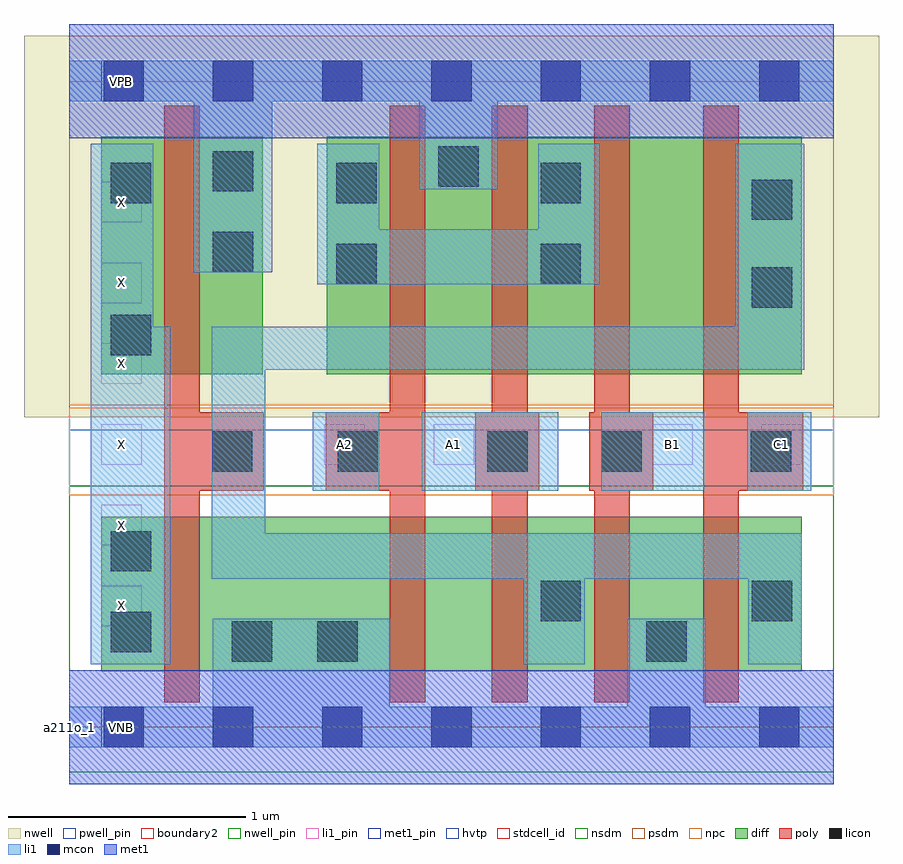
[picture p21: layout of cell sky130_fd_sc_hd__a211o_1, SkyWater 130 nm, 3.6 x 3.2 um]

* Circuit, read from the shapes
.subckt sky130_fd_sc_hd__a211o_1 A1 A2 B1 C1 VGND VNB VPB VPWR X
XM1 VGND n1 X VNB sky130_fd_pr__nfet_01v8 w=0.65 l=0.15
XM2 n2 A2 VGND VNB sky130_fd_pr__nfet_01v8 w=0.65 l=0.15
XM3 n1 A1 n2 VNB sky130_fd_pr__nfet_01v8 w=0.65 l=0.15
XM4 VGND B1 n1 VNB sky130_fd_pr__nfet_01v8 w=0.65 l=0.15
XM5 n1 C1 VGND VNB sky130_fd_pr__nfet_01v8 w=0.65 l=0.15
XM6 VPWR n1 X VPB sky130_fd_pr__pfet_01v8_hvt w=1 l=0.15
XM7 VPWR A2 n3 VPB sky130_fd_pr__pfet_01v8_hvt w=1 l=0.15
XM8 n3 A1 VPWR VPB sky130_fd_pr__pfet_01v8_hvt w=1 l=0.15
XM9 n4 B1 n3 VPB sky130_fd_pr__pfet_01v8_hvt w=1 l=0.15
XM10 n1 C1 n4 VPB sky130_fd_pr__pfet_01v8_hvt w=1 l=0.15
.ends

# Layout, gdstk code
import gdstk
lib = gdstk.Library(unit=1e-6, precision=1e-09)
def R(c, l, rs):  # rectangles x0, y0, x1, y1
    for r in rs: c.add(gdstk.rectangle(r[:2], r[2:], *l))
def A(c, l, x, y, w, h, nx, ny, dx, dy):  # array of equal rectangles
    R(c, l, [(x+i*dx, y+j*dy, x+i*dx+w, y+j*dy+h) for i in range(nx) for j in range(ny)])
def P(c, l, *ps):  # polygons
    for p in ps: c.add(gdstk.Polygon(p, *l))
nwell_pin = (64, 16)
nwell = (64, 20)
diff = (65, 20)
poly = (66, 20)
licon = (66, 44)
li1_pin = (67, 16)
li1 = (67, 20)
mcon = (67, 44)
met1_pin = (68, 16)
met1 = (68, 20)
hvtp = (78, 44)
stdcell_id = (81, 4)
nsdm = (93, 44)
psdm = (94, 20)
npc = (95, 20)
pwell_pin = (122, 16)
boundary2 = (236, 0)

sky130_fd_sc_hd__a211o_1 = lib.new_cell('sky130_fd_sc_hd__a211o_1')
R(sky130_fd_sc_hd__a211o_1, nwell_pin, [(0.135,2.635,0.305,2.805)])
R(sky130_fd_sc_hd__a211o_1, nwell, [(-0.19,1.305,3.41,2.91)])
R(sky130_fd_sc_hd__a211o_1, diff, [(0.135,0.235,3.085,0.885), (0.135,1.485,0.815,2.485), (1.085,1.485,3.085,2.485)])
P(sky130_fd_sc_hd__a211o_1, poly, [(2.46,1.325),(2.36,1.325),(2.36,2.615),(2.21,2.615),(2.21,1.325),(2.19,1.325),(2.19,0.995),(2.21,0.995),(2.21,0.105),(2.36,0.105),(2.36,0.995),(2.46,0.995)],
  [(3.09,1.325),(2.82,1.325),(2.82,2.615),(2.67,2.615),(2.67,0.105),(2.82,0.105),(2.82,0.995),(3.09,0.995)],
  [(1.98,1.325),(1.93,1.325),(1.93,2.615),(1.78,2.615),(1.78,1.325),(1.71,1.325),(1.71,0.995),(1.78,0.995),(1.78,0.105),(1.93,0.105),(1.93,0.995),(1.98,0.995)],
  [(1.5,2.615),(1.35,2.615),(1.35,1.325),(1.08,1.325),(1.08,0.995),(1.35,0.995),(1.35,0.105),(1.5,0.105)],
  [(0.82,1.325),(0.55,1.325),(0.55,2.615),(0.4,2.615),(0.4,0.105),(0.55,0.105),(0.55,0.995),(0.82,0.995)])
R(sky130_fd_sc_hd__a211o_1, licon, [(0.685,0.275,0.855,0.445), (1.045,0.275,1.215,0.445), (2.43,0.275,2.6,0.445), (0.175,0.315,0.345,0.485), (1.985,0.445,2.155,0.615), (2.875,0.445,3.045,0.615), (0.175,0.655,0.345,0.825), (0.6,1.075,0.77,1.245), (1.13,1.075,1.3,1.245), (1.76,1.075,1.93,1.245), (2.24,1.075,2.41,1.245), (2.87,1.075,3.04,1.245), (0.175,1.565,0.345,1.735), (2.875,1.765,3.045,1.935), (1.125,1.865,1.295,2.035), (1.985,1.865,2.155,2.035), (0.605,1.915,0.775,2.085), (2.875,2.135,3.045,2.305), (0.175,2.205,0.345,2.375), (1.125,2.205,1.295,2.375), (1.985,2.205,2.155,2.375), (0.605,2.255,0.775,2.425), (1.555,2.275,1.725,2.445)])
A(sky130_fd_sc_hd__a211o_1, li1_pin, 0.135, 0.425, 0.17, 0.17, 1, 6, 0, 0.34)
R(sky130_fd_sc_hd__a211o_1, li1_pin, [(1.075,1.105,1.245,1.275), (1.535,1.105,1.705,1.275), (2.455,1.105,2.625,1.275), (2.915,1.105,3.085,1.275)])
R(sky130_fd_sc_hd__a211o_1, li1, [(1.025,0.995,1.305,1.325), (1.485,0.995,2.06,1.325), (2.24,0.995,2.675,1.325), (2.855,0.995,3.125,1.325)])
P(sky130_fd_sc_hd__a211o_1, li1, [(3.085,0.815),(0.825,0.815),(0.825,1.505),(3.095,1.505),(3.095,2.455),(2.805,2.455),(2.805,1.685),(0.6,1.685),(0.6,0.625),(1.915,0.625),(1.915,0.265),(2.17,0.265),(2.17,0.625),(2.86,0.625),(2.86,0.265),(3.085,0.265)],
  [(2.235,2.455),(1.975,2.455),(1.975,2.095),(1.305,2.095),(1.305,2.455),(1.045,2.455),(1.045,1.865),(2.235,1.865)],
  [(0.09,0.265),(0.09,2.455),(0.355,2.455),(0.355,1.685),(0.425,1.685),(0.425,0.265)],
  [(3.22,0.085),(2.68,0.085),(2.68,0.455),(2.35,0.455),(2.35,0.085),(1.35,0.085),(1.35,0.455),(0.605,0.455),(0.605,0.085),(0,0.085),(0,-0.085),(3.22,-0.085)],
  [(3.22,2.805),(0,2.805),(0,2.635),(0.525,2.635),(0.525,1.915),(0.855,1.915),(0.855,2.635),(1.475,2.635),(1.475,2.265),(1.805,2.265),(1.805,2.635),(3.22,2.635)])
A(sky130_fd_sc_hd__a211o_1, mcon, 0.145, -0.085, 0.17, 0.17, 7, 2, 0.46, 2.72)
R(sky130_fd_sc_hd__a211o_1, met1_pin, [(0.135,-0.085,0.305,0.085), (0.135,2.635,0.305,2.805)])
R(sky130_fd_sc_hd__a211o_1, hvtp, [(0,1.25,3.22,2.72)])
R(sky130_fd_sc_hd__a211o_1, stdcell_id, [(0,0,3.22,2.72)])
R(sky130_fd_sc_hd__a211o_1, nsdm, [(0,-0.19,3.22,1.015)])
R(sky130_fd_sc_hd__a211o_1, psdm, [(0,1.355,3.22,2.91)])
R(sky130_fd_sc_hd__a211o_1, npc, [(0,0.975,3.22,1.345)])
R(sky130_fd_sc_hd__a211o_1, pwell_pin, [(0.135,-0.085,0.305,0.085)])
R(sky130_fd_sc_hd__a211o_1, boundary2, [(0,0,3.22,2.72)])
sky130_fd_sc_hd__a211o_1.add(gdstk.FlexPath([(0,2.72),(3.22,2.72)], 0.48, ends="flush", simple_path=True, layer=68, datatype=20))  # met1
sky130_fd_sc_hd__a211o_1.add(gdstk.FlexPath([(0,0),(3.22,0)], 0.48, ends="flush", simple_path=True, layer=68, datatype=20))  # met1
sky130_fd_sc_hd__a211o_1.add(gdstk.Label('VNB', (0.22,0), layer=64, texttype=59))
sky130_fd_sc_hd__a211o_1.add(gdstk.Label('VPB', (0.22,2.72), layer=64, texttype=5))
sky130_fd_sc_hd__a211o_1.add(gdstk.Label('VGND', (0.23,0), layer=68, texttype=5))
sky130_fd_sc_hd__a211o_1.add(gdstk.Label('VPWR', (0.23,2.72), layer=68, texttype=5))
sky130_fd_sc_hd__a211o_1.add(gdstk.Label('X', (0.22,2.21), layer=67, texttype=5))
sky130_fd_sc_hd__a211o_1.add(gdstk.Label('X', (0.22,0.51), layer=67, texttype=5))
sky130_fd_sc_hd__a211o_1.add(gdstk.Label('A2', (1.16,1.19), layer=67, texttype=5))
sky130_fd_sc_hd__a211o_1.add(gdstk.Label('X', (0.22,1.87), layer=67, texttype=5))
sky130_fd_sc_hd__a211o_1.add(gdstk.Label('B1', (2.54,1.19), layer=67, texttype=5))
sky130_fd_sc_hd__a211o_1.add(gdstk.Label('X', (0.22,1.19), layer=67, texttype=5))
sky130_fd_sc_hd__a211o_1.add(gdstk.Label('A1', (1.62,1.19), layer=67, texttype=5))
sky130_fd_sc_hd__a211o_1.add(gdstk.Label('X', (0.22,0.85), layer=67, texttype=5))
sky130_fd_sc_hd__a211o_1.add(gdstk.Label('X', (0.22,1.53), layer=67, texttype=5))
sky130_fd_sc_hd__a211o_1.add(gdstk.Label('C1', (3,1.19), layer=67, texttype=5))
sky130_fd_sc_hd__a211o_1.add(gdstk.Label('a211o_1', (0,0), layer=83, texttype=44))

lib.write_gds('sky130_fd_sc_hd__a211o_1.gds')
